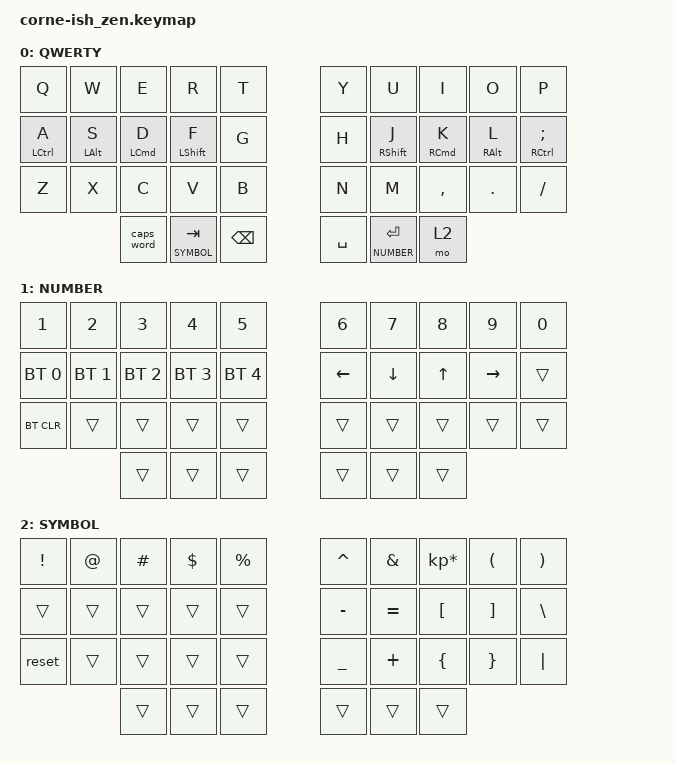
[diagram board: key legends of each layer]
/*
*
* Copyright (c) 2021 Darryl deHaan
* SPDX-License-Identifier: MIT
*
*/

#include <behaviors.dtsi>
#include <dt-bindings/zmk/keys.h>
#include <dt-bindings/zmk/bt.h>
#include <dt-bindings/zmk/matrix_transform.h>

#define DEFAULT   0
#define NUMBER    1
#define SYMBOL    2

/ {
        chosen {
                zmk,matrix_transform = &five_column_transform;
        };
        
        combos {
                compatible = "zmk,combos";
                combo_esc {
                        timeout-ms = <50>;
                        key-positions = <0 1>;
                        bindings = <&kp ESC>;
                };    
        };

        behaviors {
                hm: homerow_mods {
                        compatible = "zmk,behavior-hold-tap";
                        label = "HOMEROW_MODS";
                        #binding-cells = <2>;
                        tapping-term-ms = <200>;
                        quick_tap_ms = <0>;
                        flavor = "tap-preferred";
                        bindings = <&kp>, <&kp>;
                };
        };
        
        keymap {
                compatible = "zmk,keymap";

                default_layer {
                        label = "QWERTY";
// -------------------------------   --------------------------------
// |  Q  |  W  |  E  |  R  |  T  |   |  Y  |  U   |  I  |  O  |  P  |
// |  A  |  S  |  D  |  F  |  G  |   |  H  |  J   |  K  |  L  |  ;  |
// |  Z  |  X  |  C  |  V  |  B  |   |  N  |  M   |  ,  |  .  |  /  |
// ------------| GUI | LWR | SPC |   | ENT | RSE  | ALT |------------
                        bindings = <
    &kp Q       &kp W      &kp E              &kp R            &kp T            &kp Y     &kp U          &kp I               &kp O      &kp P
    &hm LCTRL A &hm LALT S &hm LEFT_COMMAND D &hm LSHFT F      &kp G            &kp H     &hm RSHFT J    &hm RIGHT_COMMAND K &hm RALT L &hm RCTRL SEMI
    &kp Z       &kp X      &kp C              &kp V            &kp B            &kp N     &kp M          &kp COMMA           &kp DOT    &kp FSLH
                           &caps_word          &lt SYMBOL TAB   &kp BSPC         &kp SPACE &lt NUMBER RET &mo 2
                        >;
                };
                number_layer {
                        label = "NUMBER";
// -------------------------------   -------------------------------
// |  1  |  2  |  3  |  4  |  5  |   |  6  |  7  |  8  |  9  |  0  |
// | BT1 | BT2 | BT3 | BT4 | BT5 |   | LFT | DWN |  UP | RGT |     |
// |     |     |     |     |     |   |     |     |     |     |     |
// ------------| GUI |     | SPC |   | ENT |     | ALT |------------
                        bindings = <
   &kp N1       &kp N2       &kp N3       &kp N4       &kp N5              &kp N6   &kp N7    &kp N8 &kp N9    &kp N0
   &bt BT_SEL 0 &bt BT_SEL 1 &bt BT_SEL 2 &bt BT_SEL 3 &bt BT_SEL 4        &kp LEFT &kp DOWN  &kp UP &kp RIGHT &trans
   &bt BT_CLR   &trans       &trans       &trans       &trans              &trans   &trans    &trans &trans    &trans
                             &trans       &trans       &trans              &trans   &trans    &trans
                        >;
                };

                symbol_layer {
                        label = "SYMBOL";
// -------------------------------    -------------------------------
// |  !  |  @  |  #  |  $  |  %  |    |  ^  |  &  |  *  |  (  |  )  |
// |  `  |  '  |     |     |     |    |  -  |  =  |  [  |  ]  |  \  |
// |  ~  |  "  |     |     |     |    |  _  |  +  |  {  |  }  | "|" |
// ------------| GUI |     | SPC |    | ENT |     | ALT |------------
                        bindings = <
   &kp EXCL &kp AT &kp HASH &kp DLLR &kp PRCNT        &kp CARET &kp AMPS  &kp KP_MULTIPLY &kp LPAR &kp RPAR
   &trans   &trans &trans   &trans   &trans           &kp MINUS &kp EQUAL &kp LBKT        &kp RBKT &kp BSLH
   &reset   &trans &trans   &trans   &trans           &kp UNDER &kp PLUS  &kp LBRC        &kp RBRC &kp PIPE
                   &trans   &trans   &trans           &trans    &trans    &trans
                        >;
                };
        };
};
